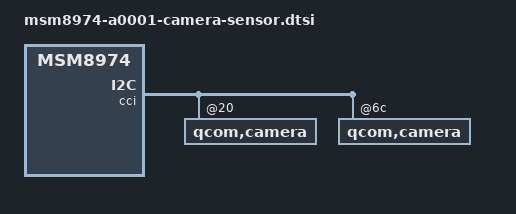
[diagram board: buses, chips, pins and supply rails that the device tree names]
/* Copyright (c) 2012-2013, The Linux Foundation. All rights reserved.
 *
 * This program is free software; you can redistribute it and/or modify
 * it under the terms of the GNU General Public License version 2 and
 * only version 2 as published by the Free Software Foundation.
 *
 * This program is distributed in the hope that it will be useful,
 * but WITHOUT ANY WARRANTY; without even the implied warranty of
 * MERCHANTABILITY or FITNESS FOR A PARTICULAR PURPOSE.  See the
 * GNU General Public License for more details.
 */

&cci {
	qcom,camera@20 {
		qcom,cam-vreg-min-voltage = <1050000 0 2800000 2800000>;
		qcom,cam-vreg-max-voltage = <1050000 0 2800000 2800000>;
	};

	qcom,camera@6c {
		qcom,cam-vreg-min-voltage = < 2800000 0>;
		qcom,cam-vreg-max-voltage = < 2800000 0>;
	};
};
